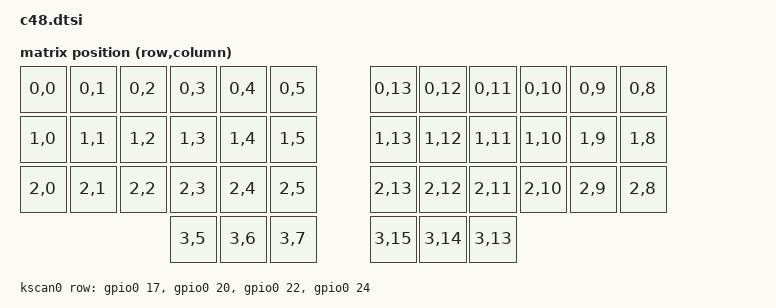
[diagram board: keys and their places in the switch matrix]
#include <dt-bindings/zmk/matrix_transform.h>

&pinctrl {
    // Other pinctrl definitions for other hardware
    pwm0_default: pwm0_default {
        group1 {
            psels = <NRF_PSEL(PWM_OUT0, 1, 6)>;
        };
    };
    pwm0_sleep: pwm0_sleep {
        group1 {
            psels = <NRF_PSEL(PWM_OUT0, 1, 6)>;
            low-power-enable;
        };
    };
};

&pwm0 {
    status = "okay";
    pinctrl-0 = <&pwm0_default>;
    pinctrl-1 = <&pwm0_sleep>;
    pinctrl-names = "default", "sleep";
};

/ {
    chosen {
        zmk,kscan = &kscan0;
        zmk,matrix_transform = &default_transform;
        zmk,backlight = &backlight;
    };

    backlight: pwmleds {
        compatible = "pwm-leds";
        pwm_led_0 {
            pwms = <&pwm0 0 PWM_MSEC(10) PWM_POLARITY_NORMAL>;
        };
    };

    default_transform: keymap_transform_0 {
        compatible = "zmk,matrix-transform";
        columns = <16>;
        rows = <4>;


// | MX1  | MX2  | MX3  | MX4  | MX5  | MX6  |                                  | MX7  | MX8  | MX9  | MX10 | MX11 | MX12 |
// | MX13 | MX14 | MX15 | MX16 | MX17 | MX18 |                                  | MX19 | MX20 | MX21 | MX22 | MX23 | MX24 |
// | MX25 | MX26 | MX27 | MX28 | MX29 | MX30 |                                  | MX31 | MX32 | MX33 | MX34 | MX35 | MX36 |
//                                    | MX37 | MX38 | MX39 |      | MX40 | MX41 | MX42 |

        map = <
RC(0,0) RC(0,1) RC(0,2) RC(0,3) RC(0,4) RC(0,5)                                      RC(0,13) RC(0,12) RC(0,11) RC(0,10) RC(0,9) RC(0,8)
RC(1,0) RC(1,1) RC(1,2) RC(1,3) RC(1,4) RC(1,5)                                      RC(1,13) RC(1,12) RC(1,11) RC(1,10) RC(1,9) RC(1,8)
RC(2,0) RC(2,1) RC(2,2) RC(2,3) RC(2,4) RC(2,5)                                      RC(2,13) RC(2,12) RC(2,11) RC(2,10) RC(2,9) RC(2,8)
                                        RC(3,5) RC(3,6) RC(3,7)    RC(3,15) RC(3,14) RC(3,13)
        >;
    };

    kscan0: kscan {
        compatible = "zmk,kscan-gpio-matrix";
        label = "KSCAN";

        diode-direction = "col2row";
        row-gpios =
            <&gpio0 17 (GPIO_ACTIVE_HIGH | GPIO_PULL_DOWN)>, // Row 0 from the schematic file
            <&gpio0 20 (GPIO_ACTIVE_HIGH | GPIO_PULL_DOWN)>, // Row 1 from the schematic file
            <&gpio0 22 (GPIO_ACTIVE_HIGH | GPIO_PULL_DOWN)>, // Row 2 from the schematic file
            <&gpio0 24 (GPIO_ACTIVE_HIGH | GPIO_PULL_DOWN)>, // Row 3 from the schematic file
            ;

    };
};
